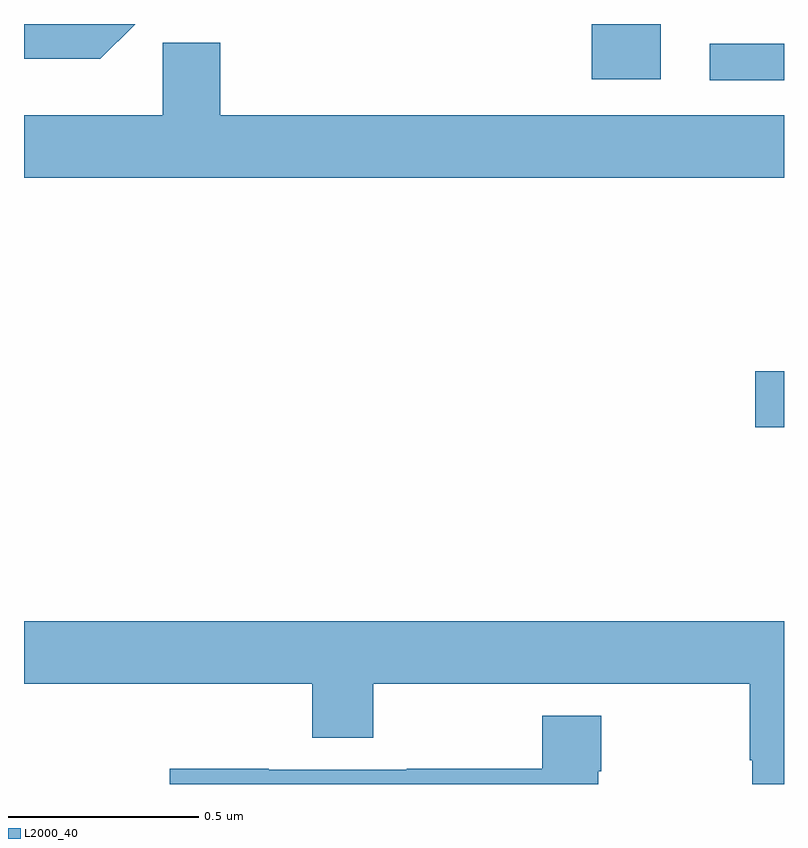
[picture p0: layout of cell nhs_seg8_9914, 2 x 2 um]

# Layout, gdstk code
import gdstk
lib = gdstk.Library(unit=1e-6, precision=1e-09)
def R(c, l, rs):  # rectangles x0, y0, x1, y1
    for r in rs: c.add(gdstk.rectangle(r[:2], r[2:], *l))
def P(c, l, *ps):  # polygons
    for p in ps: c.add(gdstk.Polygon(p, *l))
L2000_40 = (2000, 40)

nhs_seg8_9914 = lib.new_cell('nhs_seg8_9914')
R(nhs_seg8_9914, L2000_40, [(243.924,1119.839,244,1119.986), (243.804,1120.752,244,1120.848), (243.494,1120.754,243.676,1120.9)])
P(nhs_seg8_9914, L2000_40, [(242.293,1120.9),(242,1120.9),(242,1120.808),(242.201,1120.808)],
  [(244,1120.66),(242.516,1120.66),(242.516,1120.851),(242.365,1120.851),(242.365,1120.66),(242,1120.66),(242,1120.496),(244,1120.496)],
  [(244,1119.328),(242,1119.328),(242,1119.164),(242.759,1119.164),(242.759,1119.022),(242.919,1119.022),(242.919,1119.164),(243.91,1119.164),(243.91,1118.962),(243.917,1118.962),(243.917,1118.9),(244,1118.9)],
  [(243.511,1118.934),(243.519,1118.934),(243.519,1119.079),(243.364,1119.079),(243.364,1118.94),(243.007,1118.94),(243.007,1118.937),(242.644,1118.937),(242.644,1118.94),(242.384,1118.94),(242.384,1118.9),(243.511,1118.9)])

lib.write_gds('nhs_seg8_9914.gds')
